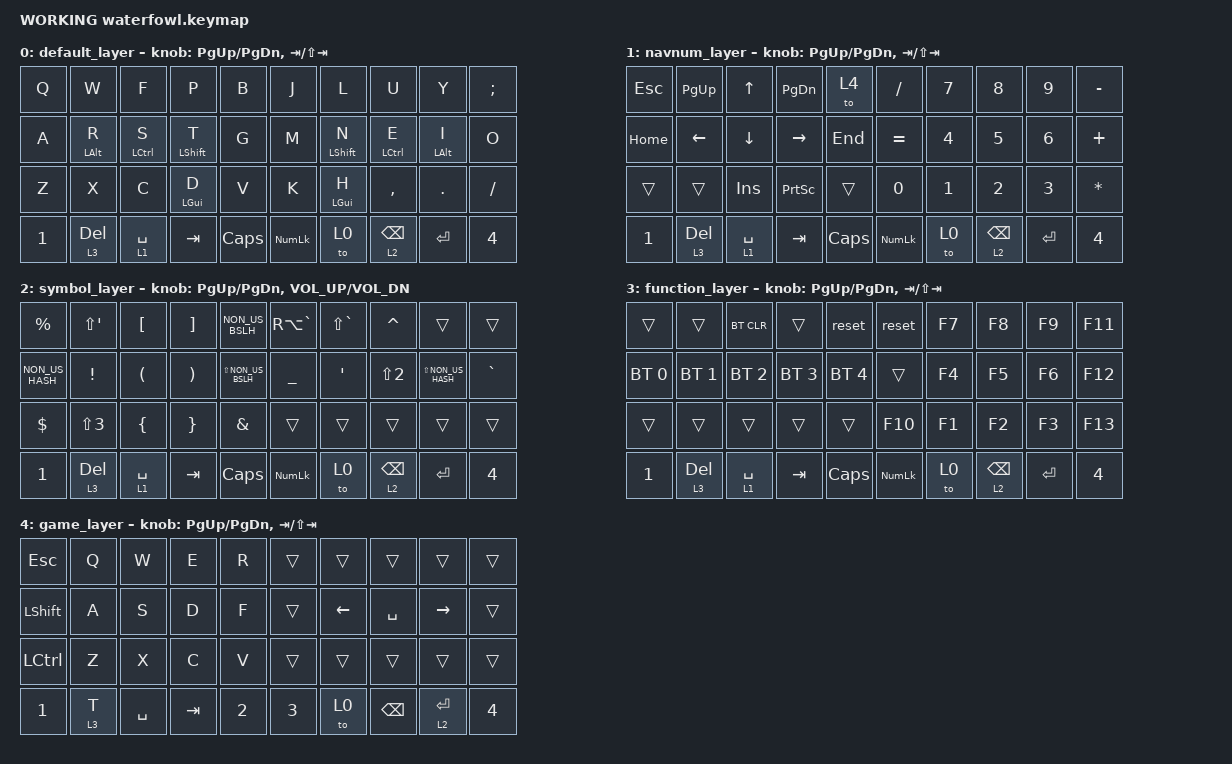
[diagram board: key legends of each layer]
 /*
 * Copyright (c) 2020 The ZMK Contributors
 *
 * SPDX-License-Identifier: MIT
 */

#include <behaviors.dtsi>
#include <dt-bindings/zmk/keys.h>
#include <dt-bindings/zmk/bt.h>

&lt { quick_tap_ms = <200>; };
/ {
	keymap {
		compatible = "zmk,keymap";

		default_layer {
/* Colemak-DH
 *
 * ,----------------------------------.                      ,----------------------------------.
 * |   Q  |   W  |   F  |   P  |   B  |                      |   J  |   L  |   U  |   Y  |   ;  |
 * |------+------+------+------+------|                      |------+------+------+------+------|
 * |   A  |   R  |   S  |   T  |   G  |                      |   M  |   N  |   E  |   I  |   O  |
 * |------+------+------+------+------|  ,-----.    ,-----.  |------+------+------+------+------|
 * |   Z  |   X  |   C  |   D  |   V  |  |  2  |    |  3  |  |   K  |   H  |   ,  |   .  |   /  |
 * `----------------------------------'  `-----'    `-----'  `----------------------------------'
 *          ,-----.   ,--------------------.            ,--------------------.   ,-----. 
 *          |  1  |   | DEL | SPACE | TAB  |            | TO(0) | BS | ENTER |   |  4  |
 *          `-----'   `--------------------'            `--------------------'   `-----'
 */
			bindings = <
	&kp Q       &kp W 	   &kp F       &kp P       &kp B            &kp J   &kp L        &kp U       &kp Y      &kp SEMI
	&kp A       &mt LALT R &mt LCTRL S &mt LSHFT T &kp G            &kp M   &mt LSHFT N  &mt LCTRL E &mt LALT I &kp O
	&kp Z       &kp X      &kp C       &mt LGUI D  &kp V       		&kp K   &mt LGUI H   &kp COMMA   &kp DOT    &kp FSLH
	&kp N1      &lt 3 DEL  &lt 1 SPACE &kp TAB     &kp CLCK      	&kp KP_NLCK  &to 0    &lt 2 BSPC    &kp RET  &kp N4
			>;

			sensor-bindings = <&inc_dec_kp PAGE_UP PAGE_DOWN &inc_dec_kp TAB LS(TAB)>;
		};

		navnum_layer {
/* NAVNUM
 *
 * ,----------------------------------.                      ,----------------------------------.
 * |  ESC | PgUp |  UP  | PgDn | TO(4)|                      |   /  |   7  |   8  |   9  |   -  |
 * |------+------+------+------+------|                      |------+------+------+------+------|
 * | Home | Left | Down | Right| End  |                      |   =  |   4  |   5  |   6  |   +  |
 * |------+------+------+------+------|  ,-----.    ,-----.  |------+------+------+------+------|
 * |      |      |  INS | PSCRN|      |  |  2  |    |  3  |  |   0  |   1  |   2  |   3  |   *  |
 * `----------------------------------'  `-----'    `-----'  `----------------------------------'
 *          ,-----.   ,--------------------.            ,--------------------.   ,-----. 
 *          |  1  |   | DEL | SPACE | MO(3)|            | TO(0) | BS | ENTER |   |  4  |
 *          `-----'   `--------------------'            `--------------------'   `-----'
 */
			bindings = <
	&kp ESC   &kp PG_UP &kp UP      &kp PG_DN &to 4                  &kp FSLH  &kp N7   &kp N8    &kp N9     &kp MINUS
	&kp HOME  &kp LEFT  &kp DOWN    &kp RIGHT &kp END                &kp EQUAL &kp N4   &kp N5    &kp N6     &kp PLUS
	&trans    &trans    &kp INS     &kp PSCRN &trans     			 &kp N0    &kp N1   &kp N2    &kp N3     &kp ASTERISK
	&kp N1      &lt 3 DEL  &lt 1 SPACE &kp TAB     &kp CLCK      	&kp KP_NLCK  &to 0    &lt 2 BSPC    &kp RET  &kp N4
			>;

			sensor-bindings = <&inc_dec_kp PAGE_UP PAGE_DOWN &inc_dec_kp TAB LS(TAB)>;
		};

		symbol_layer {
/* SYM
 *
 * ,----------------------------------.                      ,----------------------------------.
 * |   %  |   @  |   [  |   ]  |   \  |                      |   ¦  |   ¬  |   ^  |      |      |
 * |------+------+------+------+------|                      |------+------+------+------+------|
 * |   #  |   !  |   (  |   )  |   |  |                      |   _  |   '  |   "  |   ~  |   `  |
 * |------+------+------+------+------|  ,-----.    ,-----.  |------+------+------+------+------|
 * |   $  |   £  |   {  |   }  |   &  |  |  2  |    |  3  |  |      |      |      |      |      |
 * `----------------------------------'  `-----'    `-----'  `----------------------------------'
 *          ,-----.   ,--------------------.            ,--------------------.   ,-----. 
 *          |  1  |   | DEL | SPACE | TAB  |            | TO(0) | BS | ENTER |   |  4  |
 *          `-----'   `--------------------'            `--------------------'   `-----'
 */
			bindings = <
	&kp PRCNT       &kp LS(QUOT) &kp LBKT    &kp RBKT &kp NON_US_BSLH        &kp RA(GRAVE)   &kp LS(GRAVE)  &kp CARET   &trans               &trans
	&kp NON_US_HASH &kp EXCL     &kp LPAR    &kp RPAR &kp LS(NON_US_BSLH)               &kp UNDER       &kp APOS       &kp LS(N2)  &kp LS(NON_US_HASH)  &kp GRAVE
	&kp DLLR        &kp LS(N3)   &kp LBRC    &kp RBRC &kp AMPS       		 &trans          &trans         &trans      &trans               &trans
	&kp N1      &lt 3 DEL  &lt 1 SPACE &kp TAB     &kp CLCK      	&kp KP_NLCK  &to 0    &lt 2 BSPC    &kp RET  &kp N4
			>;

			sensor-bindings = <&inc_dec_kp PAGE_UP PAGE_DOWN &inc_dec_kp C_VOL_UP C_VOL_DN>;
		};

		function_layer {
/* FUNC
 *
 * ,----------------------------------.                      ,----------------------------------.
 * |      |      | BTCLR|      | Reset|                      | Reset|  F7  |  F8  |  F9  |  F11 |
 * |------+------+------+------+------|                      |------+------+------+------+------|
 * |  BT0 |  BT1 |  BT2 |  BT3 |  BT4 |                      |      |  F4  |  F5  |  F6  |  F12 |
 * |------+------+------+------+------|  ,-----.    ,-----.  |------+------+------+------+------|
 * |      |      |      |      |      |  |  2  |    |  3  |  |  F10 |  F1  |  F2  |  F3  |  F13 |
 * `----------------------------------'  `-----'    `-----'  `----------------------------------'
 *          ,-----.   ,--------------------.            ,--------------------.   ,-----. 
 *          |  1  |   | DEL | SPACE | TAB  |            | TO(0) | BS | ENTER |   |  4  |
 *          `-----'   `--------------------'            `--------------------'   `-----'
 */
			bindings = <
	&trans        &trans       &bt BT_CLR   &trans       &reset                 &reset   &kp F7    &kp F8      &kp F9      &kp F11
	&bt BT_SEL 0  &bt BT_SEL 1 &bt BT_SEL 2 &bt BT_SEL 3 &bt BT_SEL 4           &trans   &kp F4    &kp F5      &kp F6      &kp F12
	&trans        &trans       &trans       &trans       &trans       	        &kp F10  &kp F1    &kp F2      &kp F3      &kp F13
	&kp N1      &lt 3 DEL  &lt 1 SPACE &kp TAB     &kp CLCK      	&kp KP_NLCK  &to 0    &lt 2 BSPC    &kp RET  &kp N4
			>;

			sensor-bindings = <&inc_dec_kp PAGE_UP PAGE_DOWN &inc_dec_kp TAB LS(TAB)>;
		};

		game_layer {
/* GAME
 *
 * ,----------------------------------.                      ,----------------------------------.
 * |  ESC |   Q  |   W  |   E  |   R  |                      |      |      |      |      |      |
 * |------+------+------+------+------|                      |------+------+------+------+------|
 * |Shift |   A  |   S  |   D  |   F  |                      |      |      |      |      |      |
 * |------+------+------+------+------|  ,-----.    ,-----.  |------+------+------+------+------|
 * | Ctrl |   Z  |   X  |   C  |   V  |  |  2  |    |  3  |  |      |      |      |      |      |
 * `----------------------------------'  `-----'    `-----'  `----------------------------------'
 *          ,-----.   ,--------------------.            ,--------------------.   ,-----. 
 *          |  1  |   |  T  | SPACE | TAB  |            | TO(0) | BS | ENTER |   |  4  |
 *          `-----'   `--------------------'            `--------------------'   `-----'
 */
			bindings = <
	&kp ESC     &kp Q 	 &kp W       &kp E    &kp R            &trans   &trans   &trans   &trans    &trans
	&kp LSHFT   &kp A    &kp S       &kp D    &kp F            &trans   &kp LEFT &kp SPACE   &kp RIGHT    &trans
	&kp LCTRL   &kp Z    &kp X       &kp C    &kp V       	   &trans   &trans   &trans   &trans    &trans
	&kp N1      &lt 3 T  &kp SPACE &kp TAB  &kp N2      	   &kp N3   &to 0    &kp BSPC &lt 2 RET &kp N4
			>;

			sensor-bindings = <&inc_dec_kp PAGE_UP PAGE_DOWN &inc_dec_kp TAB LS(TAB)>;
		};	

	};
};
